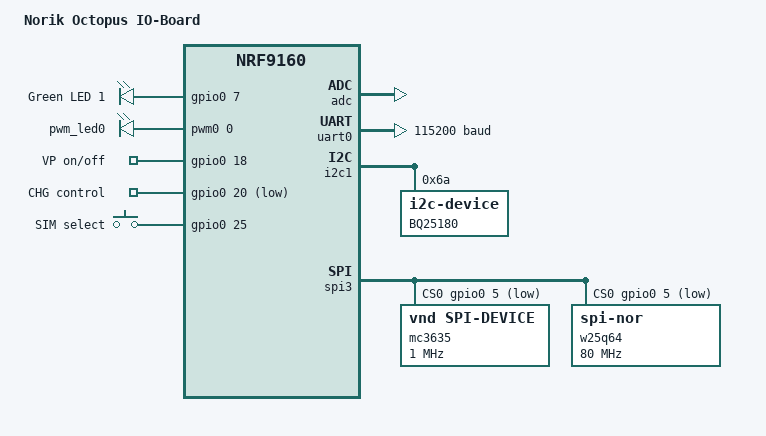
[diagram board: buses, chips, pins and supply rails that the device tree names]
/*
 * Copyright (c) 2023-2024 Norik Systems
 *
 * SPDX-License-Identifier: Apache-2.0
 */
#include "norik_octopus_io_board_common-pinctrl.dtsi"

/ {
   	model = "Norik Octopus IO-Board";
   	compatible = "norik,octopus-io-board";

   	chosen {
	   zephyr,console = &uart0;
	   zephyr,shell-uart = &uart0;
	   zephyr,uart-mcumgr = &uart0;
   	};

   	leds {
	   compatible = "gpio-leds";
	   led0: led_0 {
		   gpios = <&gpio0 7 0>;
		   label = "Green LED 1";
	   };
   	};
	
	pwmleds {
		compatible = "pwm-leds";
		pwm_led0: pwm_led_0 {
			pwms = <&pwm0 0 PWM_MSEC(20) PWM_POLARITY_NORMAL>;
		};
	};

	peripheral-power-controller {
		compatible = "gpio-keys";
		pwrgpio0: pwrgpio_0 {
			label = "VP on/off";
			gpios = <&gpio0 18 GPIO_ACTIVE_HIGH>;
		};
		pwrgpio1: pwrgpio_1 {
			label = "CHG control";
			gpios = <&gpio0 20 (GPIO_ACTIVE_LOW)>;
		};
	};

	simselect-controller{
		compatible = "gpio-keys";
		sim_select: sim_select {
			label = "SIM select";
			gpios = <&gpio0 25 GPIO_ACTIVE_HIGH>;
		};
	};

   /* These aliases are provided for compatibility with samples */
   aliases {
	   led0 = &led0;
	   pwm-led0 = &pwm_led0;
	   watchdog0 = &wdt0;
	   ldoctrl = &pwrgpio0;
	   chgctrl = &pwrgpio1;
	   w25q64 = &w25q64;
	   bq25180 = &bq25180;
	   simselect = &sim_select;
   };
};

&adc {
   status = "okay";
};

&gpiote {
   status = "okay";
};

&gpio0 {
   status = "okay";
};

&uart0 {
   status = "okay";
   current-speed = <115200>;
   pinctrl-0 = <&uart0_default>;
   pinctrl-1 = <&uart0_sleep>;
   pinctrl-names = "default", "sleep";
};

&i2c1 {
    compatible = "nordic,nrf-twim";
    status = "okay";
    pinctrl-0 = <&i2c0_default>;
    pinctrl-1 = <&i2c0_sleep>;
    pinctrl-names = "default", "sleep";
    bq25180: bq25180@6a {
            compatible = "i2c-device";
            status = "okay";
            label = "BQ25180";
            reg = <0x6a>;
    };
};

&spi3 {
	compatible = "nordic,nrf-spim";
	status = "okay";

	cs-gpios =	<&gpio0 5 GPIO_ACTIVE_LOW>,
				<&gpio0 11 GPIO_ACTIVE_LOW>;


	pinctrl-0 = <&spi3_default>;
	pinctrl-1 = <&spi3_sleep>;
	pinctrl-names = "default", "sleep";
	mc3635: mc3635@0 {
		compatible = "vnd,spi-device";
		spi-max-frequency = <1000000>;
		reg = <0>;
//		int1-gpios = <&gpio0 12 0>;
		label = "mc3635";
	};
	w25q64: w25q64@0 {
        compatible = "jedec,spi-nor";
        reg = <0>;
        spi-max-frequency = <80000000>;
        jedec-id = [ef 40 17];
        size = <0x4000000>;
        has-dpd;
        t-enter-dpd = <3500>;
        t-exit-dpd = <3500>;
    };

};

&flash0 {
	partitions {
		compatible = "fixed-partitions";
		#address-cells = <1>;
		#size-cells = <1>;

		boot_partition: partition@0 {
			label = "mcuboot";
			reg = <0x00000000 0x10000>;
		};
		slot0_partition: partition@10000 {
			label = "image-0";
		};
		slot0_ns_partition: partition@50000 {
			label = "image-0-nonsecure";
		};
		slot1_partition: partition@80000 {
			label = "image-1";
		};
		slot1_ns_partition: partition@c0000 {
			label = "image-1-nonsecure";
		};
		storage_partition: partition@f8000 {
			label = "storage";
			reg = <0x000f8000 0x00008000>;
		};
	};
};

/ {

	reserved-memory {
		#address-cells = <1>;
		#size-cells = <1>;
		ranges;

		sram0_s: image_s@20000000 {
			/* Secure image memory */
		};

		sram0_modem: image_modem@20016000 {
			/* Modem (shared) memory */
		};

		sram0_ns: image_ns@20020000 {
			/* Non-Secure image memory */
		};
	};
};

/* Include partition configuration file */
#include "norik_octopus_io_board_nrf9160_partition_conf.dtsi"
